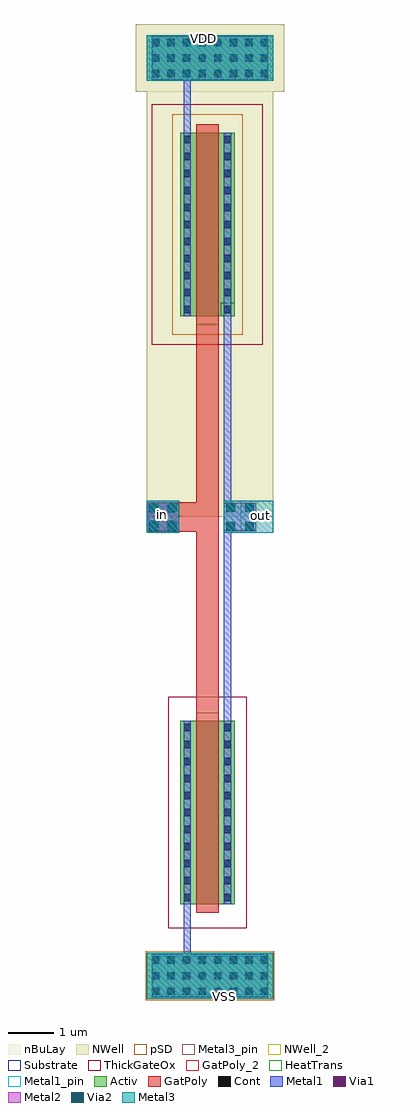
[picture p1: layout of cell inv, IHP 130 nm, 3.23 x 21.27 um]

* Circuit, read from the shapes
.subckt inv VDD VSS in out
XM1 out in VSUBS VSUBS sg13_hv_nmos w=4u l=0.5u
XM2 out in ntap1$6_2/well ntap1$6_2/well sg13_hv_pmos w=4u l=0.5u
.ends

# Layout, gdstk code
import gdstk
lib = gdstk.Library(unit=1e-6, precision=1e-09)
def R(c, l, rs):  # rectangles x0, y0, x1, y1
    for r in rs: c.add(gdstk.rectangle(r[:2], r[2:], *l))
def A(c, l, x, y, w, h, nx, ny, dx, dy):  # array of equal rectangles
    R(c, l, [(x+i*dx, y+j*dy, x+i*dx+w, y+j*dy+h) for i in range(nx) for j in range(ny)])
Activ = (1, 0)
GatPoly = (5, 0)
GatPoly_2 = (5, 2)
Cont = (6, 0)
Metal1 = (8, 0)
Metal1_pin = (8, 2)
Metal2 = (10, 0)
pSD = (14, 0)
Via1 = (19, 0)
Via2 = (29, 0)
Metal3 = (30, 0)
Metal3_pin = (30, 2)
NWell = (31, 0)
NWell_2 = (31, 2)
nBuLay = (32, 0)
Substrate = (40, 0)
ThickGateOx = (44, 0)
HeatTrans = (51, 0)

nmoshv_10 = lib.new_cell('nmosHV$10')
R(nmoshv_10, Activ, [(0,0,0.3,0.3), (0,0,1.18,4), (0.88,0,1.18,0.3)])
R(nmoshv_10, GatPoly, [(0.34,-0.18,0.84,4.18)])
R(nmoshv_10, GatPoly_2, [(0.34,-0.18,0.84,4.18)])
A(nmoshv_10, Cont, 0.07, 0.07, 0.16, 0.16, 1, 11, 0, 0.37)
A(nmoshv_10, Cont, 0.95, 0.07, 0.16, 0.16, 1, 11, 0, 0.37)
R(nmoshv_10, Metal1, [(0.07,0,0.23,4), (0.95,0,1.11,4)])
R(nmoshv_10, Metal1_pin, [(0.07,0,0.23,4), (0.95,0,1.11,4)])
R(nmoshv_10, ThickGateOx, [(-0.27,-0.52,1.45,4.52)])
R(nmoshv_10, HeatTrans, [(0.34,-0.18,0.84,4.18)])
nmoshv_10.add(gdstk.Label('nmosHV', (0.59,2), layer=63, texttype=0))
nmoshv_10.add(gdstk.Label('nmosHV', (0.59,2), layer=51, texttype=0))

pmoshv_12 = lib.new_cell('pmosHV$12')
R(pmoshv_12, Activ, [(0,0,0.3,0.3), (0,0,1.18,4), (0.88,0,1.18,0.3)])
R(pmoshv_12, GatPoly, [(0.34,-0.18,0.84,4.18)])
R(pmoshv_12, GatPoly_2, [(0.34,-0.18,0.84,4.18)])
A(pmoshv_12, Cont, 0.07, 0.07, 0.16, 0.16, 1, 11, 0, 0.37)
A(pmoshv_12, Cont, 0.95, 0.07, 0.16, 0.16, 1, 11, 0, 0.37)
R(pmoshv_12, Metal1, [(0.07,0,0.23,4), (0.95,0,1.11,4)])
R(pmoshv_12, Metal1_pin, [(0.07,0,0.23,4), (0.95,0,1.11,4)])
R(pmoshv_12, pSD, [(-0.18,-0.4,1.36,4.4)])
R(pmoshv_12, NWell, [(-0.62,-0.62,1.8,4.62)])
R(pmoshv_12, Substrate, [(0.88,0,1.18,0.3)])
R(pmoshv_12, ThickGateOx, [(-0.62,-0.62,1.8,4.62)])
R(pmoshv_12, HeatTrans, [(0.34,-0.18,0.84,4.18)])
pmoshv_12.add(gdstk.Label('pmosHV', (0.59,2), layer=63, texttype=0))
pmoshv_12.add(gdstk.Label('pmos', (0.59,2), layer=51, texttype=0))

ntap1_6 = lib.new_cell('ntap1$6')
R(ntap1_6, Activ, [(0,0,2.75,1)])
A(ntap1_6, Cont, 0.105, 0.08, 0.16, 0.16, 8, 3, 0.34, 0.34)
R(ntap1_6, Metal1, [(0.105,0.03,2.645,0.97)])
R(ntap1_6, Metal1_pin, [(0.105,0.03,2.645,0.97), (0.105,0.08,2.645,0.92)])
R(ntap1_6, NWell, [(-0.24,-0.24,2.99,1.24), (0,0,2.75,1)])
R(ntap1_6, NWell_2, [(0,0,2.75,1)])
R(ntap1_6, nBuLay, [(-0.24,-0.24,2.99,1.24)])
ntap1_6.add(gdstk.Label('well', (1.375,0.01), layer=63, texttype=0))
ntap1_6.add(gdstk.Label('well', (1.375,0.01), layer=31, texttype=0))

ptap1_1 = lib.new_cell('ptap1$1')
R(ptap1_1, Activ, [(0,0,2.75,1)])
A(ptap1_1, Cont, 0.105, 0.08, 0.16, 0.16, 8, 3, 0.34, 0.34)
R(ptap1_1, Metal1, [(0.105,0.03,2.645,0.97), (0.105,0.08,2.645,0.92)])
R(ptap1_1, Metal1_pin, [(0.105,0.08,2.645,0.92)])
R(ptap1_1, pSD, [(-0.03,-0.03,2.78,1.03)])
R(ptap1_1, Substrate, [(0,0,2.75,1)])
ptap1_1.add(gdstk.Label('sub!', (1.375,0.01), layer=40, texttype=0))
ptap1_1.add(gdstk.Label('sub!', (1.375,0.01), layer=63, texttype=0))

via_stack_20 = lib.new_cell('via_stack$20')
R(via_stack_20, GatPoly, [(-0.32,-0.32,0.32,0.32)])
R(via_stack_20, Cont, [(-0.25,-0.25,-0.09,-0.09), (0.09,-0.25,0.25,-0.09), (-0.25,0.09,-0.09,0.25), (0.09,0.09,0.25,0.25)])
R(via_stack_20, Metal1, [(-0.35,-0.31,0.35,0.31)])
R(via_stack_20, Metal2, [(-0.35,-0.305,0.35,0.305)])
R(via_stack_20, Via1, [(-0.3,-0.3,-0.11,-0.11), (0.11,-0.3,0.3,-0.11), (-0.3,0.11,-0.11,0.3), (0.11,0.11,0.3,0.3)])
R(via_stack_20, Via2, [(-0.3,-0.3,-0.11,-0.11), (0.11,-0.3,0.3,-0.11), (-0.3,0.11,-0.11,0.3), (0.11,0.11,0.3,0.3)])
R(via_stack_20, Metal3, [(-0.35,-0.305,0.35,0.305)])

via_stack_21 = lib.new_cell('via_stack$21')
R(via_stack_21, Metal1, [(-0.35,-0.31,0.35,0.31)])
R(via_stack_21, Metal2, [(-0.35,-0.305,0.35,0.305)])
R(via_stack_21, Via1, [(-0.3,-0.3,-0.11,-0.11), (0.11,-0.3,0.3,-0.11), (-0.3,0.11,-0.11,0.3), (0.11,0.11,0.3,0.3)])
R(via_stack_21, Via2, [(-0.3,-0.3,-0.11,-0.11), (0.11,-0.3,0.3,-0.11), (-0.3,0.11,-0.11,0.3), (0.11,0.11,0.3,0.3)])
R(via_stack_21, Metal3, [(-0.35,-0.305,0.35,0.305)])

inv = lib.new_cell('inv')
R(inv, GatPoly, [(1.07,5.48,1.57,14.495), (0.03,9.68,1.07,10.32)])
R(inv, Metal1, [(0.8,-0.25,0.96,5.555), (1.68,1.555,1.84,18.37), (0.8,14.37,0.96,20.25)])
R(inv, Metal3, [(0,-0.5,2.75,0.5), (0,9.65,0.7,10.35), (0,19.5,2.75,20.5)])
R(inv, Metal3_pin, [(0,-0.5,2.75,0.5), (0,9.65,0.7,10.35), (2.05,9.65,2.75,10.35), (0,19.5,2.75,20.5)])
R(inv, NWell, [(0,10,2.75,20)])
inv.add(gdstk.FlexPath([(1.68,10),(2.75,10),(2.75,10)], 0.7, ends="flush", simple_path=True, layer=30, datatype=0))  # Metal3
inv.add(gdstk.Reference(nmoshv_10, (0.73,1.555)))
inv.add(gdstk.Reference(pmoshv_12, (0.73,14.37)))
inv.add(gdstk.Reference(ntap1_6, (0,19.5)))
inv.add(gdstk.Reference(ptap1_1, (0,-0.5)))
inv.add(gdstk.Reference(via_stack_20, (0.35,10)))
inv.add(gdstk.Reference(via_stack_21, (2.03,10)))
inv.add(gdstk.Label('out', (2.465,10.02), layer=30, texttype=25))
inv.add(gdstk.Label('in', (0.35,10.04), layer=30, texttype=25))
inv.add(gdstk.Label('VDD', (1.234,20.419), layer=30, texttype=25))
inv.add(gdstk.Label('VSS', (1.698,-0.452), layer=30, texttype=25))

lib.write_gds('inv.gds')
